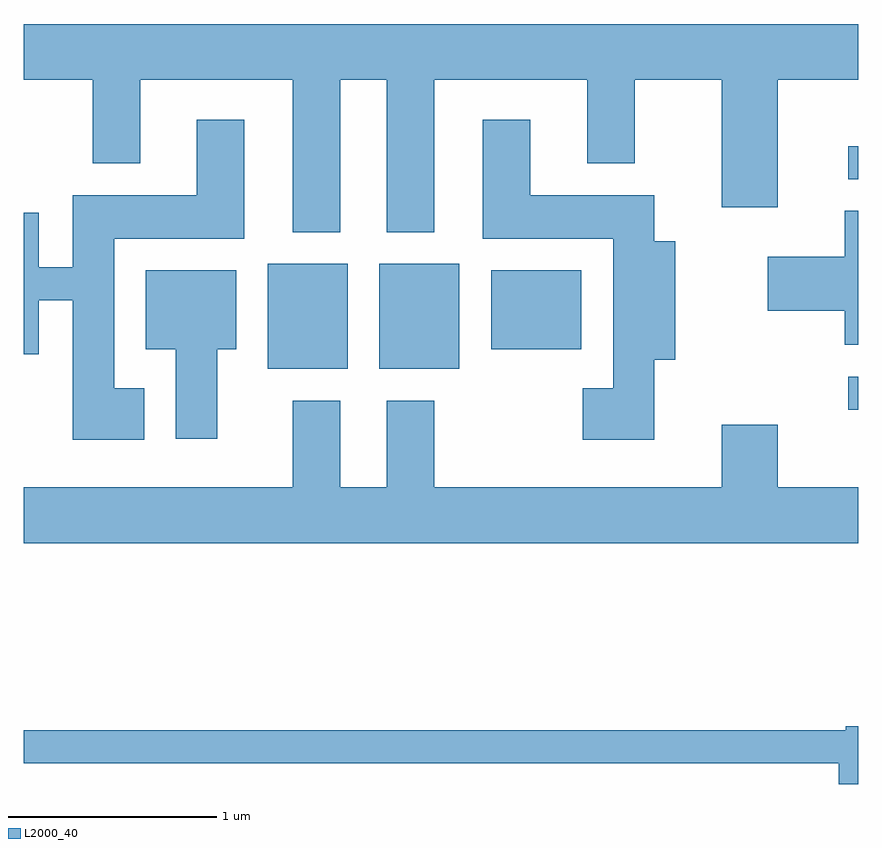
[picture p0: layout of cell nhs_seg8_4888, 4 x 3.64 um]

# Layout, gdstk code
import gdstk
lib = gdstk.Library(unit=1e-6, precision=1e-09)
def R(c, l, rs):  # rectangles x0, y0, x1, y1
    for r in rs: c.add(gdstk.rectangle(r[:2], r[2:], *l))
def P(c, l, *ps):  # polygons
    for p in ps: c.add(gdstk.Polygon(p, *l))
L2000_40 = (2000, 40)

nhs_seg8_4888 = lib.new_cell('nhs_seg8_4888')
R(nhs_seg8_4888, L2000_40, [(335.563,1868.136,335.611,1868.294), (332.781,1868.331,333.164,1868.834), (333.316,1868.331,333.699,1868.834), (333.851,1868.426,334.284,1868.804), (335.563,1869.241,335.611,1869.399)])
P(nhs_seg8_4888, L2000_40, [(333.129,1869.716),(333.351,1869.716),(333.351,1868.986),(333.579,1868.986),(333.579,1869.716),(334.311,1869.716),(334.311,1869.316),(334.539,1869.316),(334.539,1869.716),(334.956,1869.716),(334.956,1869.106),(335.224,1869.106),(335.224,1869.716),(335.611,1869.716),(335.611,1869.984),(331.611,1869.984),(331.611,1869.716),(331.941,1869.716),(331.941,1869.316),(332.169,1869.316),(332.169,1869.716),(332.901,1869.716),(332.901,1868.986),(333.129,1868.986)],
  [(332.189,1868.239),(332.044,1868.239),(332.044,1868.956),(332.669,1868.956),(332.669,1869.524),(332.441,1869.524),(332.441,1869.164),(331.846,1869.164),(331.846,1868.819),(331.684,1868.819),(331.684,1869.079),(331.611,1869.079),(331.611,1868.401),(331.684,1868.401),(331.684,1868.661),(331.846,1868.661),(331.846,1867.991),(332.189,1867.991)],
  [(334.634,1868.376),(334.734,1868.376),(334.734,1868.944),(334.634,1868.944),(334.634,1869.164),(334.039,1869.164),(334.039,1869.524),(333.811,1869.524),(333.811,1868.956),(334.436,1868.956),(334.436,1868.239),(334.291,1868.239),(334.291,1867.991),(334.634,1867.991)],
  [(335.611,1869.089),(335.546,1869.089),(335.546,1868.869),(335.176,1868.869),(335.176,1868.611),(335.546,1868.611),(335.546,1868.446),(335.611,1868.446)],
  [(332.539,1868.426),(332.629,1868.426),(332.629,1868.804),(332.196,1868.804),(332.196,1868.426),(332.341,1868.426),(332.341,1867.996),(332.539,1867.996)],
  [(335.611,1867.764),(335.224,1867.764),(335.224,1868.064),(334.956,1868.064),(334.956,1867.764),(333.579,1867.764),(333.579,1868.179),(333.351,1868.179),(333.351,1867.764),(333.129,1867.764),(333.129,1868.179),(332.901,1868.179),(332.901,1867.764),(331.611,1867.764),(331.611,1867.496),(335.611,1867.496)],
  [(335.611,1866.619),(335.551,1866.619),(335.551,1866.599),(331.611,1866.599),(331.611,1866.441),(335.516,1866.441),(335.516,1866.342),(335.611,1866.342)])

lib.write_gds('nhs_seg8_4888.gds')
